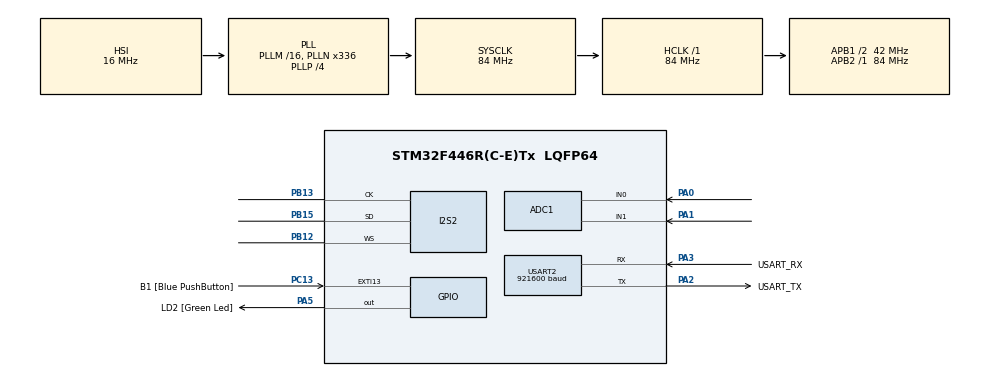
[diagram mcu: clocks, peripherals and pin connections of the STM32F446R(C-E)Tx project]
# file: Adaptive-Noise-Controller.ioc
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ADC1.Channel-0\#ChannelRegularConversion=ADC_CHANNEL_0
ADC1.Channel-1\#ChannelRegularConversion=ADC_CHANNEL_1
ADC1.ClockPrescaler=ADC_CLOCK_SYNC_PCLK_DIV6
ADC1.ContinuousConvMode=ENABLE
ADC1.DMAContinuousRequests=ENABLE
ADC1.NbrOfConversion=2
ADC1.NbrOfConversionFlag=1
ADC1.Rank-0\#ChannelRegularConversion=1
ADC1.Rank-1\#ChannelRegularConversion=2
ADC1.SamplingTime-0\#ChannelRegularConversion=ADC_SAMPLETIME_144CYCLES
ADC1.SamplingTime-1\#ChannelRegularConversion=ADC_SAMPLETIME_144CYCLES
ADC1.ScanConvMode=ENABLE
ADC1.master=1
Dma.ADC1.0.Direction=DMA_PERIPH_TO_MEMORY
Dma.ADC1.0.FIFOMode=DMA_FIFOMODE_ENABLE
Dma.ADC1.0.FIFOThreshold=DMA_FIFO_THRESHOLD_HALFFULL
Dma.ADC1.0.Instance=DMA2_Stream0
Dma.ADC1.0.MemBurst=DMA_MBURST_SINGLE
Dma.ADC1.0.MemDataAlignment=DMA_MDATAALIGN_HALFWORD
Dma.ADC1.0.MemInc=DMA_MINC_ENABLE
Dma.ADC1.0.Mode=DMA_CIRCULAR
Dma.ADC1.0.PeriphBurst=DMA_PBURST_SINGLE
Dma.ADC1.0.PeriphDataAlignment=DMA_PDATAALIGN_HALFWORD
Dma.ADC1.0.PeriphInc=DMA_PINC_DISABLE
Dma.ADC1.0.Priority=DMA_PRIORITY_VERY_HIGH
Dma.Request0=ADC1
Dma.Request1=SPI2_TX
Dma.Request2=USART2_TX
Dma.SPI2_TX.1.Direction=DMA_MEMORY_TO_PERIPH
Dma.SPI2_TX.1.FIFOMode=DMA_FIFOMODE_ENABLE
Dma.SPI2_TX.1.FIFOThreshold=DMA_FIFO_THRESHOLD_HALFFULL
Dma.SPI2_TX.1.Instance=DMA1_Stream4
Dma.SPI2_TX.1.MemBurst=DMA_MBURST_SINGLE
Dma.SPI2_TX.1.MemDataAlignment=DMA_MDATAALIGN_HALFWORD
Dma.SPI2_TX.1.MemInc=DMA_MINC_ENABLE
Dma.SPI2_TX.1.Mode=DMA_CIRCULAR
Dma.SPI2_TX.1.PeriphBurst=DMA_PBURST_SINGLE
Dma.SPI2_TX.1.PeriphDataAlignment=DMA_PDATAALIGN_HALFWORD
Dma.SPI2_TX.1.PeriphInc=DMA_PINC_DISABLE
Dma.SPI2_TX.1.Priority=DMA_PRIORITY_HIGH
Dma.USART2_TX.2.Direction=DMA_MEMORY_TO_PERIPH
Dma.USART2_TX.2.FIFOMode=DMA_FIFOMODE_ENABLE
Dma.USART2_TX.2.FIFOThreshold=DMA_FIFO_THRESHOLD_FULL
Dma.USART2_TX.2.Instance=DMA1_Stream6
Dma.USART2_TX.2.MemBurst=DMA_MBURST_SINGLE
Dma.USART2_TX.2.MemDataAlignment=DMA_MDATAALIGN_BYTE
Dma.USART2_TX.2.MemInc=DMA_MINC_ENABLE
Dma.USART2_TX.2.Mode=DMA_CIRCULAR
Dma.USART2_TX.2.PeriphBurst=DMA_PBURST_SINGLE
Dma.USART2_TX.2.PeriphDataAlignment=DMA_PDATAALIGN_BYTE
Dma.USART2_TX.2.PeriphInc=DMA_PINC_DISABLE
Dma.USART2_TX.2.Priority=DMA_PRIORITY_MEDIUM
I2S2.AudioFreq=I2S_AUDIOFREQ_44K
I2S2.ErrorAudioFreq=0.26 %
I2S2.FullDuplexMode=I2S_FULLDUPLEXMODE_DISABLE
I2S2.Instance=SPI$Index
I2S2.RealAudioFreq=44.117 KHz
I2S2.VirtualMode=I2S_MODE_MASTER
Mcu.Family=STM32F4
Mcu.Name=STM32F446R(C-E)Tx
Mcu.Package=LQFP64
NVIC.DMA1_Stream4_IRQn=true\:0\:0\:false\:false\:true\:false\:true\:true
NVIC.DMA1_Stream6_IRQn=true\:0\:0\:false\:false\:true\:false\:true\:true
NVIC.DMA2_Stream0_IRQn=true\:0\:0\:false\:false\:true\:false\:true\:true
NVIC.PriorityGroup=NVIC_PRIORITYGROUP_0
PA0-WKUP.Signal=ADCx_IN0
PA1.Signal=ADCx_IN1
PA13.GPIO_Label=TMS
PA13.Mode=Serial_Wire
PA13.Signal=SYS_JTMS-SWDIO
PA14.GPIO_Label=TCK
PA14.Mode=Serial_Wire
PA14.Signal=SYS_JTCK-SWCLK
PA2.GPIO_Label=USART_TX
PA2.Mode=Asynchronous
PA2.Signal=USART2_TX
PA3.GPIO_Label=USART_RX
PA3.Mode=Asynchronous
PA3.Signal=USART2_RX
PA5.GPIO_Label=LD2 [Green Led]
PA5.Signal=GPIO_Output
PB12.Mode=Half_Duplex_Master
PB12.Signal=I2S2_WS
PB13.Mode=Half_Duplex_Master
PB13.Signal=I2S2_CK
PB15.Mode=Half_Duplex_Master
PB15.Signal=I2S2_SD
PB3.GPIO_Label=SWO
PB3.Signal=SYS_JTDO-SWO
PC13.GPIO_Label=B1 [Blue PushButton]
PC13.GPIO_ModeDefaultEXTI=GPIO_MODE_IT_FALLING
PC13.Signal=GPXTI13
PC14-OSC32_IN.Mode=LSE-External-Oscillator
PC14-OSC32_IN.Signal=RCC_OSC32_IN
PC15-OSC32_OUT.Mode=LSE-External-Oscillator
PC15-OSC32_OUT.Signal=RCC_OSC32_OUT
PH0-OSC_IN.Mode=HSE-External-Oscillator
PH0-OSC_IN.Signal=RCC_OSC_IN
PH1-OSC_OUT.Mode=HSE-External-Oscillator
PH1-OSC_OUT.Signal=RCC_OSC_OUT
ProjectManager.HeapSize=0x200
ProjectManager.StackSize=0x400
ProjectManager.TargetToolchain=STM32CubeIDE
RCC.48MHZClocksFreq_Value=84000000
RCC.AHBFreq_Value=84000000
RCC.APB1CLKDivider=RCC_HCLK_DIV2
RCC.APB1Freq_Value=42000000
RCC.APB1TimFreq_Value=84000000
RCC.APB2Freq_Value=84000000
RCC.APB2TimFreq_Value=84000000
RCC.CortexFreq_Value=84000000
RCC.FLatency-AdvancedSettings=FLASH_LATENCY_2
RCC.HCLKFreq_Value=84000000
RCC.HSE_VALUE=8000000
RCC.HSI_VALUE=16000000
RCC.PLLN=336
RCC.PLLP=RCC_PLLP_DIV4
RCC.SYSCLKFreq_VALUE=84000000
RCC.SYSCLKSource=RCC_SYSCLKSOURCE_PLLCLK
RCC.USBFreq_Value=168000000
RCC.VCOOutputFreq_Value=336000000
SH.ADCx_IN0.0=ADC1_IN0,IN0
SH.ADCx_IN1.0=ADC1_IN1,IN1
USART2.BaudRate=921600
USART2.VirtualMode=VM_ASYNC
board=NUCLEO-F446RE

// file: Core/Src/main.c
/* USER CODE BEGIN Header */
/**
  ******************************************************************************
  * @file           : main.c
  * @brief          : Main program body
  ******************************************************************************
  * @attention
  *
  * Copyright (c) 2025 STMicroelectronics.
  * All rights reserved.
  *
  * This software is licensed under terms that can be found in the LICENSE file
  * in the root directory of this software component.
  * If no LICENSE file comes with this software, it is provided AS-IS.
  *
  ******************************************************************************
  */
/* USER CODE END Header */
#include "main.h"

/* USER CODE BEGIN Includes */
#define ARM_MATH_CM4
#include <string.h>
#include "arm_math.h"//CMSIS_DSP
#include <stdio.h>
/* USER CODE END Includes */

/* USER CODE BEGIN PD */
#define NUM_TAPS	42
#define NUM_BLOCKS	256
#define STEP_SIZE	0.001f
float32_t pCoeffs[NUM_TAPS] = {0.0f};//point to first element
float32_t pState[NUM_TAPS + NUM_BLOCKS -1];
float32_t input[NUM_BLOCKS];
float32_t ref[NUM_BLOCKS];
float32_t output[NUM_BLOCKS];
float32_t error[NUM_BLOCKS];
int16_t i2s_output[NUM_BLOCKS];

/* USER CODE END PD */

ADC_HandleTypeDef hadc1;
DMA_HandleTypeDef hdma_adc1;

I2S_HandleTypeDef hi2s2;
DMA_HandleTypeDef hdma_spi2_tx;

UART_HandleTypeDef huart2;
DMA_HandleTypeDef hdma_usart2_tx;

/* USER CODE BEGIN PV */
arm_lms_instance_f32 noise_lms;
/* USER CODE END PV */

void SystemClock_Config(void);
static void MX_GPIO_Init(void);
static void MX_DMA_Init(void);
static void MX_USART2_UART_Init(void);
static void MX_ADC1_Init(void);
static void MX_I2S2_Init(void);

/* USER CODE BEGIN 0 */
volatile int8_t adc_buf_flag = 0;
#define ADC_DMA_BUF (2*NUM_BLOCKS*2) // 512 adc samples for Reference Channel + 512 for Primary Channel)
#define ADC_HALF_BUF (ADC_DMA_BUF/2)//512 samples
uint16_t adc_dma_buf[ADC_DMA_BUF];//12-bit data

/*
 * When 1024 Samples are taken
 * 512 per each channel
 */
void HAL_ADC_ConvHalfCpltCallback(ADC_HandleTypeDef *hadc){
	adc_buf_flag = 1;
}
/*
 * When the second 1024 Samples are taken
 * 512 per each channel
 */
void HAL_ADC_ConvCpltCallback(ADC_HandleTypeDef *hadc){
	adc_buf_flag = 2;
}

/*
 * Conversion of ADC data to float.
 * Scaling to [-1,1] for LMS filtering
 */
void float_conversion(uint16_t* adc_buf, float32_t* temp_buf, uint32_t len,uint8_t channel){
	for (int i = 0; i < len; i++){
		temp_buf[i] = ((float32_t)adc_buf[2*i + channel] - 2048.0f) / 2048.0f;
	}
}
/* USER CODE END 0 */

int main(void)
{

  /* MCU Configuration--------------------------------------------------------*/

  /* Reset of all peripherals, Initializes the Flash interface and the Systick. */
  HAL_Init();

  /* Configure the system clock */
  SystemClock_Config();

  /* Initialize all configured peripherals */
  MX_GPIO_Init();
  MX_DMA_Init();
  MX_USART2_UART_Init();
  MX_ADC1_Init();
  MX_I2S2_Init();

  /* Infinite loop */
  /* USER CODE BEGIN WHILE */
  arm_lms_init_f32(&noise_lms,NUM_TAPS,&pCoeffs[0], &pState[0],STEP_SIZE, NUM_BLOCKS);
  HAL_ADC_Start_DMA(&hadc1, (uint32_t*)adc_dma_buf, ADC_DMA_BUF);

  while (1)
  {
	  if(adc_buf_flag == 1){// First 1024 Samples
		  //LMS Filtering on first half-buffer
//		  HAL_GPIO_WritePin(LD2_GPIO_Port, LD2_Pin, GPIO_PIN_SET);
//		  HAL_Delay(500);
		  float_conversion(&adc_dma_buf[0], input, NUM_BLOCKS,0);
		  float_conversion(&adc_dma_buf[0], ref, NUM_BLOCKS,1);
	  }

	  else if(adc_buf_flag == 2){
		  //LMS Filtering on second half-buffer
//		  HAL_GPIO_WritePin(LD2_GPIO_Port, LD2_Pin, GPIO_PIN_RESET);
//		  HAL_Delay(500);
		  float_conversion(&adc_dma_buf[ADC_HALF_BUF], input, NUM_BLOCKS,0);
		  float_conversion(&adc_dma_buf[ADC_HALF_BUF], ref, NUM_BLOCKS,1);
	  }

	  else{
		  continue;
	  }
	  //Perform LMS FIR Filtering for 512 samples of ref + primary
	  arm_lms_f32(&noise_lms,input,ref,output,error,NUM_BLOCKS);

	  const size_t data_bytes = NUM_BLOCKS * sizeof(float32_t); // 1024 bytes
	  HAL_UART_Transmit_DMA(&huart2, (uint8_t*)error, data_bytes);
//	  for(int i = 0; i < NUM_BLOCKS;i++){// as big as BLOCK Size
//		  i2s_output[i] = (int16_t)(output[i]*32767.0f);//full range 16-bit integer [-32678,32768]
//	  }
//
//
//	  HAL_I2S_Transmit_DMA(&hi2s2,(uint16_t*)i2s_output,NUM_BLOCKS);//transmit i2s via DMA

	  adc_buf_flag = 0;

	  //I2S Outputting
    /* USER CODE END WHILE */

  }
}

void SystemClock_Config(void)
{
  RCC_OscInitTypeDef RCC_OscInitStruct = {0};
  RCC_ClkInitTypeDef RCC_ClkInitStruct = {0};

  /** Configure the main internal regulator output voltage
  */
  __HAL_RCC_PWR_CLK_ENABLE();
  __HAL_PWR_VOLTAGESCALING_CONFIG(PWR_REGULATOR_VOLTAGE_SCALE3);

  /** Initializes the RCC Oscillators according to the specified parameters
  * in the RCC_OscInitTypeDef structure.
  */
  RCC_OscInitStruct.OscillatorType = RCC_OSCILLATORTYPE_HSI;
  RCC_OscInitStruct.HSIState = RCC_HSI_ON;
  RCC_OscInitStruct.HSICalibrationValue = RCC_HSICALIBRATION_DEFAULT;
  RCC_OscInitStruct.PLL.PLLState = RCC_PLL_ON;
  RCC_OscInitStruct.PLL.PLLSource = RCC_PLLSOURCE_HSI;
  RCC_OscInitStruct.PLL.PLLM = 16;
  RCC_OscInitStruct.PLL.PLLN = 336;
  RCC_OscInitStruct.PLL.PLLP = RCC_PLLP_DIV4;
  RCC_OscInitStruct.PLL.PLLQ = 2;
  RCC_OscInitStruct.PLL.PLLR = 2;
  if (HAL_RCC_OscConfig(&RCC_OscInitStruct) != HAL_OK)
  {
    Error_Handler();
  }

  /** Initializes the CPU, AHB and APB buses clocks
  */
  RCC_ClkInitStruct.ClockType = RCC_CLOCKTYPE_HCLK|RCC_CLOCKTYPE_SYSCLK
                              |RCC_CLOCKTYPE_PCLK1|RCC_CLOCKTYPE_PCLK2;
  RCC_ClkInitStruct.SYSCLKSource = RCC_SYSCLKSOURCE_PLLCLK;
  RCC_ClkInitStruct.AHBCLKDivider = RCC_SYSCLK_DIV1;
  RCC_ClkInitStruct.APB1CLKDivider = RCC_HCLK_DIV2;
  RCC_ClkInitStruct.APB2CLKDivider = RCC_HCLK_DIV1;

  if (HAL_RCC_ClockConfig(&RCC_ClkInitStruct, FLASH_LATENCY_2) != HAL_OK)
  {
    Error_Handler();
  }
}

static void MX_ADC1_Init(void)
{

  ADC_ChannelConfTypeDef sConfig = {0};

  /** Configure the global features of the ADC (Clock, Resolution, Data Alignment and number of conversion)
  */
  hadc1.Instance = ADC1;
  hadc1.Init.ClockPrescaler = ADC_CLOCK_SYNC_PCLK_DIV6;
  hadc1.Init.Resolution = ADC_RESOLUTION_12B;
  hadc1.Init.ScanConvMode = ENABLE;
  hadc1.Init.ContinuousConvMode = ENABLE;
  hadc1.Init.DiscontinuousConvMode = DISABLE;
  hadc1.Init.ExternalTrigConvEdge = ADC_EXTERNALTRIGCONVEDGE_NONE;
  hadc1.Init.ExternalTrigConv = ADC_SOFTWARE_START;
  hadc1.Init.DataAlign = ADC_DATAALIGN_RIGHT;
  hadc1.Init.NbrOfConversion = 2;
  hadc1.Init.DMAContinuousRequests = ENABLE;
  hadc1.Init.EOCSelection = ADC_EOC_SINGLE_CONV;
  if (HAL_ADC_Init(&hadc1) != HAL_OK)
  {
    Error_Handler();
  }

  /** Configure for the selected ADC regular channel its corresponding rank in the sequencer and its sample time.
  */
  sConfig.Channel = ADC_CHANNEL_0;
  sConfig.Rank = 1;
  sConfig.SamplingTime = ADC_SAMPLETIME_144CYCLES;
  if (HAL_ADC_ConfigChannel(&hadc1, &sConfig) != HAL_OK)
  {
    Error_Handler();
  }

  /** Configure for the selected ADC regular channel its corresponding rank in the sequencer and its sample time.
  */
  sConfig.Channel = ADC_CHANNEL_1;
  sConfig.Rank = 2;
  if (HAL_ADC_ConfigChannel(&hadc1, &sConfig) != HAL_OK)
  {
    Error_Handler();
  }

}

static void MX_I2S2_Init(void)
{

  hi2s2.Instance = SPI2;
  hi2s2.Init.Mode = I2S_MODE_MASTER_TX;
  hi2s2.Init.Standard = I2S_STANDARD_PHILIPS;
  hi2s2.Init.DataFormat = I2S_DATAFORMAT_16B;
  hi2s2.Init.MCLKOutput = I2S_MCLKOUTPUT_DISABLE;
  hi2s2.Init.AudioFreq = I2S_AUDIOFREQ_44K;
  hi2s2.Init.CPOL = I2S_CPOL_LOW;
  hi2s2.Init.ClockSource = I2S_CLOCK_PLL;
  hi2s2.Init.FullDuplexMode = I2S_FULLDUPLEXMODE_DISABLE;
  if (HAL_I2S_Init(&hi2s2) != HAL_OK)
  {
    Error_Handler();
  }

}

static void MX_USART2_UART_Init(void)
{

  huart2.Instance = USART2;
  huart2.Init.BaudRate = 921600;
  huart2.Init.WordLength = UART_WORDLENGTH_8B;
  huart2.Init.StopBits = UART_STOPBITS_1;
  huart2.Init.Parity = UART_PARITY_NONE;
  huart2.Init.Mode = UART_MODE_TX_RX;
  huart2.Init.HwFlowCtl = UART_HWCONTROL_NONE;
  huart2.Init.OverSampling = UART_OVERSAMPLING_16;
  if (HAL_UART_Init(&huart2) != HAL_OK)
  {
    Error_Handler();
  }

}

static void MX_DMA_Init(void)
{

  /* DMA controller clock enable */
  __HAL_RCC_DMA2_CLK_ENABLE();
  __HAL_RCC_DMA1_CLK_ENABLE();

  /* DMA interrupt init */
  /* DMA1_Stream4_IRQn interrupt configuration */
  HAL_NVIC_SetPriority(DMA1_Stream4_IRQn, 0, 0);
  HAL_NVIC_EnableIRQ(DMA1_Stream4_IRQn);
  /* DMA1_Stream6_IRQn interrupt configuration */
  HAL_NVIC_SetPriority(DMA1_Stream6_IRQn, 0, 0);
  HAL_NVIC_EnableIRQ(DMA1_Stream6_IRQn);
  /* DMA2_Stream0_IRQn interrupt configuration */
  HAL_NVIC_SetPriority(DMA2_Stream0_IRQn, 0, 0);
  HAL_NVIC_EnableIRQ(DMA2_Stream0_IRQn);

}

static void MX_GPIO_Init(void)
{
  GPIO_InitTypeDef GPIO_InitStruct = {0};

  /* GPIO Ports Clock Enable */
  __HAL_RCC_GPIOC_CLK_ENABLE();
  __HAL_RCC_GPIOH_CLK_ENABLE();
  __HAL_RCC_GPIOA_CLK_ENABLE();
  __HAL_RCC_GPIOB_CLK_ENABLE();

  /*Configure GPIO pin Output Level */
  HAL_GPIO_WritePin(LD2_GPIO_Port, LD2_Pin, GPIO_PIN_RESET);

  /*Configure GPIO pin : B1_Pin */
  GPIO_InitStruct.Pin = B1_Pin;
  GPIO_InitStruct.Mode = GPIO_MODE_IT_FALLING;
  GPIO_InitStruct.Pull = GPIO_NOPULL;
  HAL_GPIO_Init(B1_GPIO_Port, &GPIO_InitStruct);

  /*Configure GPIO pin : LD2_Pin */
  GPIO_InitStruct.Pin = LD2_Pin;
  GPIO_InitStruct.Mode = GPIO_MODE_OUTPUT_PP;
  GPIO_InitStruct.Pull = GPIO_NOPULL;
  GPIO_InitStruct.Speed = GPIO_SPEED_FREQ_LOW;
  HAL_GPIO_Init(LD2_GPIO_Port, &GPIO_InitStruct);

}

void Error_Handler(void)
{
  __disable_irq();
  while (1)
  {
  }
}
